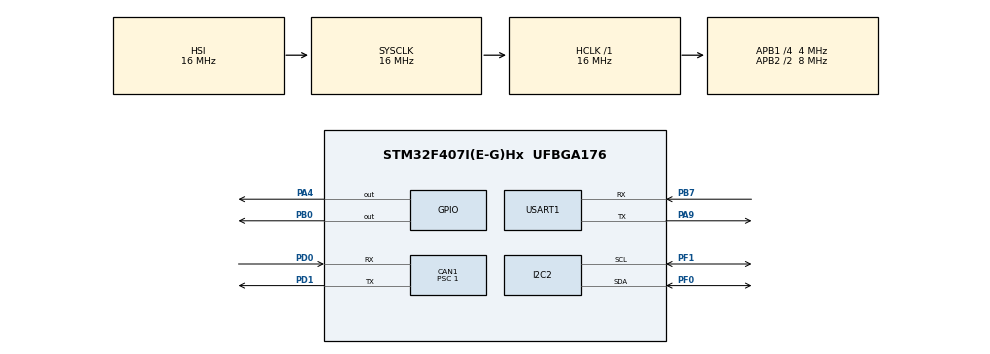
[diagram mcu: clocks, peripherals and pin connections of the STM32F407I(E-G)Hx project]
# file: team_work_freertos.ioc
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CAN1.BS1=CAN_BS1_2TQ
CAN1.CalculateBaudRate=1000000
CAN1.CalculateTimeBit=1000
CAN1.CalculateTimeQuantum=250.0
CAN1.Prescaler=1
Dma.Request0=USART1_RX
Dma.Request1=USART1_TX
Dma.USART1_RX.0.Direction=DMA_PERIPH_TO_MEMORY
Dma.USART1_RX.0.FIFOMode=DMA_FIFOMODE_DISABLE
Dma.USART1_RX.0.Instance=DMA2_Stream2
Dma.USART1_RX.0.MemDataAlignment=DMA_MDATAALIGN_BYTE
Dma.USART1_RX.0.MemInc=DMA_MINC_ENABLE
Dma.USART1_RX.0.Mode=DMA_NORMAL
Dma.USART1_RX.0.PeriphDataAlignment=DMA_PDATAALIGN_BYTE
Dma.USART1_RX.0.PeriphInc=DMA_PINC_DISABLE
Dma.USART1_RX.0.Priority=DMA_PRIORITY_LOW
Dma.USART1_TX.1.Direction=DMA_MEMORY_TO_PERIPH
Dma.USART1_TX.1.FIFOMode=DMA_FIFOMODE_DISABLE
Dma.USART1_TX.1.Instance=DMA2_Stream7
Dma.USART1_TX.1.MemDataAlignment=DMA_MDATAALIGN_BYTE
Dma.USART1_TX.1.MemInc=DMA_MINC_ENABLE
Dma.USART1_TX.1.Mode=DMA_NORMAL
Dma.USART1_TX.1.PeriphDataAlignment=DMA_PDATAALIGN_BYTE
Dma.USART1_TX.1.PeriphInc=DMA_PINC_DISABLE
Dma.USART1_TX.1.Priority=DMA_PRIORITY_LOW
FREERTOS.Tasks01=UART_DMA,0,128,StartDefaultTask,Default,NULL,Dynamic,NULL,NULL;IMU_Start,-3,512,StartTask02,Default,NULL,Dynamic,NULL,NULL;CAN_GM6050,-3,2048,StartTask03,Default,NULL,Dynamic,NULL,NULL
FREERTOS.configTOTAL_HEAP_SIZE=20000
I2C2.I2C_Mode=I2C_Fast
Mcu.Family=STM32F4
Mcu.Name=STM32F407I(E-G)Hx
Mcu.Package=UFBGA176
NVIC.CAN1_RX0_IRQn=true\:5\:0\:false\:false\:true\:true\:true\:true\:true
NVIC.DMA2_Stream2_IRQn=true\:5\:0\:false\:false\:true\:true\:false\:true\:true
NVIC.DMA2_Stream7_IRQn=true\:5\:0\:false\:false\:true\:true\:false\:true\:true
NVIC.PriorityGroup=NVIC_PRIORITYGROUP_4
NVIC.USART1_IRQn=true\:5\:0\:false\:false\:true\:true\:true\:true\:true
PA0-WKUP.Mode=SYS_WakeUp0
PA0-WKUP.Signal=SYS_WKUP
PA13.Mode=Serial_Wire
PA13.Signal=SYS_JTMS-SWDIO
PA14.Mode=Serial_Wire
PA14.Signal=SYS_JTCK-SWCLK
PA4.Signal=GPIO_Output
PA7.Signal=SPI1_MOSI
PA9.Mode=Asynchronous
PA9.Signal=USART1_TX
PB0.Signal=GPIO_Output
PB3.Signal=SPI1_SCK
PB4.Signal=SPI1_MISO
PB7.Mode=Asynchronous
PB7.Signal=USART1_RX
PD0.Mode=CAN_Activate
PD0.Signal=CAN1_RX
PD1.Mode=CAN_Activate
PD1.Signal=CAN1_TX
PF0.Mode=I2C
PF0.Signal=I2C2_SDA
PF1.Mode=I2C
PF1.Signal=I2C2_SCL
ProjectManager.HeapSize=0x200
ProjectManager.StackSize=0x400
ProjectManager.TargetToolchain=STM32CubeIDE
RCC.48MHZClocksFreq_Value=84000000
RCC.AHBFreq_Value=16000000
RCC.APB1CLKDivider=RCC_HCLK_DIV4
RCC.APB1Freq_Value=4000000
RCC.APB1TimFreq_Value=8000000
RCC.APB2CLKDivider=RCC_HCLK_DIV2
RCC.APB2Freq_Value=8000000
RCC.APB2TimFreq_Value=16000000
RCC.CortexFreq_Value=16000000
RCC.HCLKFreq_Value=16000000
RCC.HSE_VALUE=25000000
RCC.HSI_VALUE=16000000
RCC.LSE_VALUE=32768
RCC.PLLM=8
RCC.PLLN=168
RCC.SYSCLKFreq_VALUE=16000000
RCC.VCOOutputFreq_Value=336000000
USART1.VirtualMode=VM_ASYNC
VP_FREERTOS_VS_CMSIS_V1.Mode=CMSIS_V1
board=custom

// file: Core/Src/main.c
/* USER CODE BEGIN Header */
/**
  ******************************************************************************
  * @file           : main.c
  * @brief          : Main program body
  ******************************************************************************
  * @attention
  *
  * Copyright (c) 2024 STMicroelectronics.
  * All rights reserved.
  *
  * This software is licensed under terms that can be found in the LICENSE file
  * in the root directory of this software component.
  * If no LICENSE file comes with this software, it is provided AS-IS.
  *
  ******************************************************************************
  */
/* USER CODE END Header */
#include "main.h"
#include "cmsis_os.h"
#include "can.h"
#include "dma.h"
#include "i2c.h"
#include "usart.h"
#include "gpio.h"

/* USER CODE BEGIN Includes */
#include "stdio.h"
#include "mpu6050.h"
#include "bsp_can.h"
#include "CAN_receive.h"
#include "pid.h"

/* USER CODE END Includes */

void SystemClock_Config(void);
void MX_FREERTOS_Init(void);

int main(void)
{

  /* MCU Configuration--------------------------------------------------------*/

  /* Reset of all peripherals, Initializes the Flash interface and the Systick. */
  HAL_Init();

  /* Configure the system clock */
  SystemClock_Config();

  /* Initialize all configured peripherals */
  MX_GPIO_Init();
  MX_DMA_Init();
  MX_USART1_UART_Init();
  MX_I2C2_Init();
  MX_CAN1_Init();
  /* USER CODE BEGIN 2 */
  MPU6050_Init();
  can_filter_init();
   gimbal_PID_init();

  /* USER CODE END 2 */

  /* Call init function for freertos objects (in freertos.c) */
  MX_FREERTOS_Init();

  /* Start scheduler */
  osKernelStart();

  /* We should never get here as control is now taken by the scheduler */
  /* Infinite loop */
  while (1)
  {

  }
}

void SystemClock_Config(void)
{
  RCC_OscInitTypeDef RCC_OscInitStruct = {0};
  RCC_ClkInitTypeDef RCC_ClkInitStruct = {0};

  /** Configure the main internal regulator output voltage
  */
  __HAL_RCC_PWR_CLK_ENABLE();
  __HAL_PWR_VOLTAGESCALING_CONFIG(PWR_REGULATOR_VOLTAGE_SCALE1);

  /** Initializes the RCC Oscillators according to the specified parameters
  * in the RCC_OscInitTypeDef structure.
  */
  RCC_OscInitStruct.OscillatorType = RCC_OSCILLATORTYPE_HSI;
  RCC_OscInitStruct.HSIState = RCC_HSI_ON;
  RCC_OscInitStruct.HSICalibrationValue = RCC_HSICALIBRATION_DEFAULT;
  RCC_OscInitStruct.PLL.PLLState = RCC_PLL_NONE;
  if (HAL_RCC_OscConfig(&RCC_OscInitStruct) != HAL_OK)
  {
    Error_Handler();
  }

  /** Initializes the CPU, AHB and APB buses clocks
  */
  RCC_ClkInitStruct.ClockType = RCC_CLOCKTYPE_HCLK|RCC_CLOCKTYPE_SYSCLK
                              |RCC_CLOCKTYPE_PCLK1|RCC_CLOCKTYPE_PCLK2;
  RCC_ClkInitStruct.SYSCLKSource = RCC_SYSCLKSOURCE_HSI;
  RCC_ClkInitStruct.AHBCLKDivider = RCC_SYSCLK_DIV1;
  RCC_ClkInitStruct.APB1CLKDivider = RCC_HCLK_DIV4;
  RCC_ClkInitStruct.APB2CLKDivider = RCC_HCLK_DIV2;

  if (HAL_RCC_ClockConfig(&RCC_ClkInitStruct, FLASH_LATENCY_0) != HAL_OK)
  {
    Error_Handler();
  }
}

void Error_Handler(void)
{
  __disable_irq();
  while (1)
  {
  }
}

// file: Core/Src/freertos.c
/* USER CODE BEGIN Header */
/**
  ******************************************************************************
  * File Name          : freertos.c
  * Description        : Code for freertos applications
  ******************************************************************************
  * @attention
  *
  * Copyright (c) 2024 STMicroelectronics.
  * All rights reserved.
  *
  * This software is licensed under terms that can be found in the LICENSE file
  * in the root directory of this software component.
  * If no LICENSE file comes with this software, it is provided AS-IS.
  *
  ******************************************************************************
  */
/* USER CODE END Header */

#include "FreeRTOS.h"
#include "task.h"
#include "main.h"
#include "cmsis_os.h"

/* USER CODE BEGIN Includes */
#include "usart.h"
#include "stdio.h"
#include "kalman.h"
#include "mpu6050.h"
#include "bsp_can.h"
#include "CAN_receive.h"
#include "pid.h"
/* USER CODE END Includes */

/* USER CODE BEGIN PD */
/*********************************DMA tast*********************************************/
#define RX_DATA_MAX 256   //接受数据最大值
uint16_t i;
char ReceiveData[RX_DATA_MAX];
/*********************************IMU tast*********************************************/
float gyro[3]={0},accel[3]={0} ,temperate=0 ;
/*********************************GM6020 tast*********************************************/
char   flag_buff[1];//锟斤拷志位锟斤拷锟捷伙拷锟斤拷锟斤拷
uint8_t   flag = 0 ; //0: speed  1:angle
int16_t   cnt = 0;
int16_t	  deviation_angle = 180 ;//锟角讹拷偏锟斤拷锟斤拷
int16_t	  deviation_speed = 200 ;//锟劫讹拷偏锟斤拷锟斤拷
int16_t  target_yaw_speed = 40;//目锟斤拷锟劫讹拷
float     target_yaw_angle = 40;//目锟斤拷嵌锟�
float     now_yaw_angle;
/* USER CODE END PD */

osThreadId UART_DMAHandle;
osThreadId IMU_StartHandle;
osThreadId CAN_GM6050Handle;

void StartDefaultTask(void const * argument);
void StartTask02(void const * argument);
void StartTask03(void const * argument);

void MX_FREERTOS_Init(void); /* (MISRA C 2004 rule 8.1) */

/* GetIdleTaskMemory prototype (linked to static allocation support) */
void vApplicationGetIdleTaskMemory( StaticTask_t **ppxIdleTaskTCBBuffer, StackType_t **ppxIdleTaskStackBuffer, uint32_t *pulIdleTaskStackSize );

/* USER CODE BEGIN GET_IDLE_TASK_MEMORY */
static StaticTask_t xIdleTaskTCBBuffer;
static StackType_t xIdleStack[configMINIMAL_STACK_SIZE];

void vApplicationGetIdleTaskMemory( StaticTask_t **ppxIdleTaskTCBBuffer, StackType_t **ppxIdleTaskStackBuffer, uint32_t *pulIdleTaskStackSize )
{
  *ppxIdleTaskTCBBuffer = &xIdleTaskTCBBuffer;
  *ppxIdleTaskStackBuffer = &xIdleStack[0];
  *pulIdleTaskStackSize = configMINIMAL_STACK_SIZE;
  /* place for user code */
}
/* USER CODE END GET_IDLE_TASK_MEMORY */

void MX_FREERTOS_Init(void) {

  /* Create the thread(s) */
  /* definition and creation of UART_DMA */
  osThreadDef(UART_DMA, StartDefaultTask, osPriorityNormal, 0, 128);
  UART_DMAHandle = osThreadCreate(osThread(UART_DMA), NULL);

  /* definition and creation of IMU_Start */
  osThreadDef(IMU_Start, StartTask02, osPriorityIdle, 0, 512);
  IMU_StartHandle = osThreadCreate(osThread(IMU_Start), NULL);

  /* definition and creation of CAN_GM6050 */
  osThreadDef(CAN_GM6050, StartTask03, osPriorityIdle, 0, 2048);
  CAN_GM6050Handle = osThreadCreate(osThread(CAN_GM6050), NULL);

}

void StartDefaultTask(void const * argument)
{
  /* USER CODE BEGIN StartDefaultTask */
	HAL_UARTEx_ReceiveToIdle_DMA(&huart1,(uint8_t *) ReceiveData, sizeof(ReceiveData));//开启DMA
	 __HAL_DMA_DISABLE_IT(&hdma_usart1_rx,DMA_IT_HT);//关闭 DMA半完成通道，以防数据传输一半就进入中断回调函数
  /* Infinite loop */
  for(;;)
  {

	  //TASK1:DMA_UART

    osDelay(5);
  }
  /* USER CODE END StartDefaultTask */
}

void StartTask02(void const * argument)
{
  /* USER CODE BEGIN StartTask02 */

  /* Infinite loop */
  for(;;)
  {
	  //TASK2:MPU6050
	  Angle_Calcu();
	  osDelay(1);
  }
  /* USER CODE END StartTask02 */
}

void StartTask03(void const * argument)
{
  /* USER CODE BEGIN StartTask03 */
  /* Infinite loop */
  for(;;)
  {

	  	  now_yaw_angle = (float)(motor_chassis[0].ecd - 0)/8191.0f * 360.0f;

	  	  cnt++;
	  	  if(cnt >= 100)
	  	  {
	  		  cnt = 0 ;
	  		  target_yaw_angle += (float)deviation_angle;
	  		  target_yaw_speed += deviation_speed;
	  		  deviation_speed = - deviation_speed ;
	  		  deviation_angle = - deviation_angle ;

	  	  }

	  	  if(flag == 0)
	  	  {
	  		  pid_calc(&gimbal_yaw_speed_pid,target_yaw_speed, (motor_chassis[0]).speed_rpm);
	  		  CAN_cmd_gimbal(gimbal_yaw_speed_pid.output,0, 0, 0);//
	  		  printf(" %f, %d ,%d \r\n",gimbal_yaw_speed_pid.output,(motor_chassis[0]).speed_rpm,target_yaw_speed);
	  	  }
	  	  else
	  	  {
	  		 pid_calc(&gimbal_yaw_angle_pid,target_yaw_angle, now_yaw_angle);
	  		 CAN_cmd_gimbal(gimbal_yaw_angle_pid.output,0, 0, 0);
	  		 printf("%f ,%f , %f \r\n",gimbal_yaw_angle_pid.output,now_yaw_angle,target_yaw_angle);
	  	  }

	  	  	  printf("ecd,speed_rpm,given_current,temperate:%d,%d,%d,%d \r\n", (motor_chassis[0]).ecd, (motor_chassis[0]).speed_rpm, (motor_chassis[0]).given_current, (motor_chassis[0]).temperate);
    osDelay(20);
  }
  /* USER CODE END StartTask03 */
}
